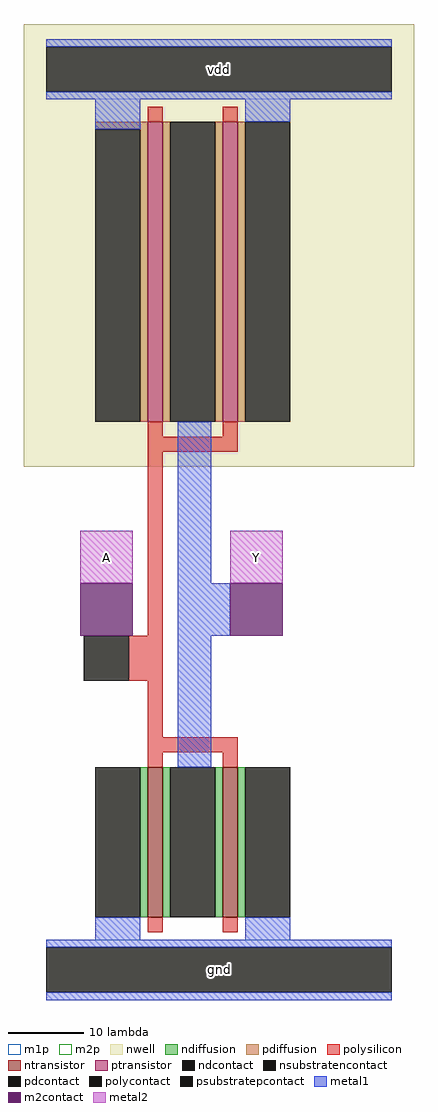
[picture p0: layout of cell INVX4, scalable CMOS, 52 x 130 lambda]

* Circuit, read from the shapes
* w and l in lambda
.subckt INVX4 A Y vdd gnd
M1 Y A gnd gnd nfet w=20 l=2 m=2
M2 Y A vdd vdd pfet w=40 l=2 m=2
.ends

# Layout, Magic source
magic
tech scmos
magscale 1 2
<< nwell >>
rect -12 134 92 252
<< ntransistor >>
rect 21 14 25 54
rect 41 14 45 54
<< ptransistor >>
rect 21 146 25 226
rect 41 146 45 226
<< ndiffusion >>
rect 19 14 21 54
rect 25 14 27 54
rect 39 14 41 54
rect 45 14 47 54
<< pdiffusion >>
rect 7 224 21 226
rect 19 146 21 224
rect 25 146 27 226
rect 39 146 41 226
rect 45 146 47 226
<< ndcontact >>
rect 7 14 19 54
rect 27 14 39 54
rect 47 14 59 54
<< pdcontact >>
rect 7 146 19 224
rect 27 146 39 226
rect 47 146 59 226
<< psubstratepcontact >>
rect -6 -6 86 6
<< nsubstratencontact >>
rect -6 234 86 246
<< polysilicon >>
rect 21 226 25 230
rect 41 226 45 230
rect 21 142 25 146
rect 41 142 45 146
rect 21 138 45 142
rect 21 89 25 138
rect 16 77 25 89
rect 21 62 25 77
rect 21 58 45 62
rect 21 54 25 58
rect 41 54 45 58
rect 21 10 25 14
rect 41 10 45 14
<< polycontact >>
rect 4 77 16 89
<< metal1 >>
rect -6 246 86 248
rect -6 232 86 234
rect 7 224 19 232
rect 47 226 59 232
rect 29 103 38 146
rect 29 89 43 103
rect 29 54 38 89
rect 7 8 19 14
rect 47 8 59 14
rect -6 6 86 8
rect -6 -8 86 -6
<< m2contact >>
rect 3 89 17 103
rect 43 89 57 103
<< metal2 >>
rect 3 103 17 117
rect 43 103 57 117
<< m1p >>
rect -6 232 86 248
rect -6 -8 86 8
<< m2p >>
rect 3 103 17 117
rect 43 103 57 117
<< labels >>
rlabel metal1 -6 -8 86 8 0 gnd
port 3 nsew ground bidirectional abutment
rlabel metal1 -6 232 86 248 0 vdd
port 2 nsew power bidirectional abutment
rlabel metal2 3 103 17 117 0 A
port 0 nsew signal input
rlabel metal2 43 103 57 117 0 Y
port 1 nsew signal output
<< properties >>
string FIXED_BBOX 0 0 80 240
string LEFclass CORE
string LEFsite core
string LEFsymmetry X Y
<< end >>
